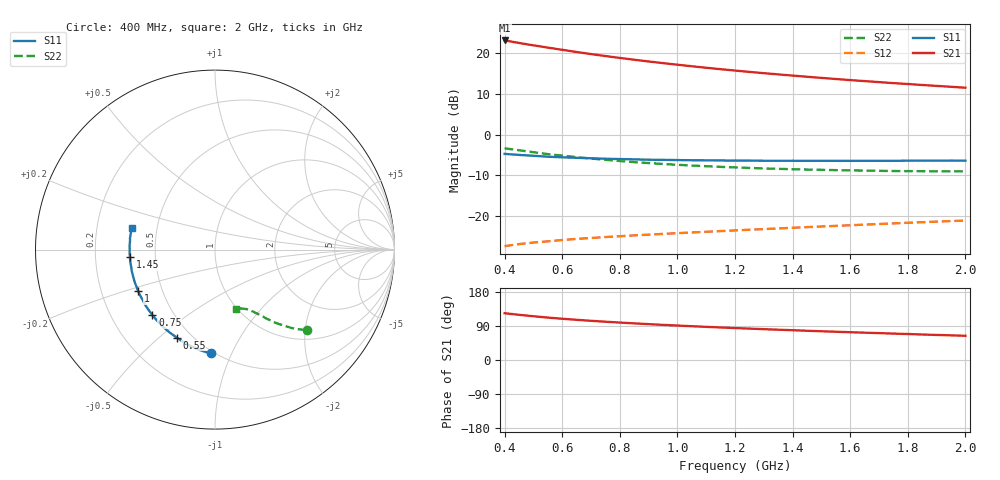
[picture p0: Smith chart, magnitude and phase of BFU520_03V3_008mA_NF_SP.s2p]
! Filename:  P:\Prog\Test\Noise\ATS_data\Testdata_Net\06 Compressed Noise after Statistics\BFU520_APG2013_37_A05_03p3V_008mA_NF_CM01_D.sf
! Date/Time: Fri 26/Apr/2013 14:13:18
! BFU520_APG2013_37_A05_03p3V_1to20mA_NF_CM01_Bias5_R.sf
! Noise Parameter Data File
! BFU520_APG2013_37_A05_03p3V_1to20mA_NF_CM01
! Date/time: Tue Apr 23 15:18:41 2013
! VAR V_out= 3.300000
! VAR I_out= 8.000000
! VAR V_in= 0.840700
! VAR I_in= 0.093105
! Device data file deembeded for feedlines and parallel
! Original file: \06 Compressed Noise after Statistics\BFU520_APG2013_37_A05_03p3V_008mA_NF_CM01_R.sf
! Feed-files: PR047V01_250413_Feed1.s2p, PR047V01_250413_Feed2.s2p
! Parallel-file: PR047V01_250413_Par.s2p
# MHz S MA R 50
!  Freq-MHz  S11-mag  S11-arg  S21-mag  S21-arg  S12-mag  S12-arg  S22-mag  S22-arg
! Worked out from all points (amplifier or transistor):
!   37 points, 400 MHz to 2 GHz, reference 50 ohm
!   highest |S21| = 23.1 dB at 400 MHz (marker M1)
!   |S21| within 3 dB of that: start of sweep to 666.9 MHz
!   unconditionally stable (mu >= 1): 1.875 GHz to end of sweep
!   at 500 MHz: K = 0.42, MSG = 24.2 dB, |S12| = -26.5 dB
!   at 1.1 GHz: K = 0.77, MSG = 20.1 dB, |S12| = -23.8 dB
!   at 2 GHz: K = 1.03, MAG = 15.3 dB, |S12| = -21.1 dB
!   lowest NFmin = 0.78 dB at 460 MHz
!   S11 on the Smith chart (normalised r, x): 400 MHz: 0.48, -0.84; 550 MHz: 0.42, -0.57; 750 MHz: 0.38, -0.37; 1 GHz: 0.36, -0.22; 1.45 GHz: 0.36, -0.04; 2 GHz: 0.36, +0.11
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400  0.5787 -92.4  14.24 123.4  0.04276 52.5  0.6782 -41.3
433  0.5676 -97.5  13.59 120.6  0.04449 51.2  0.653 -43.0
460  0.5593 -101.5  13.09 118.5  0.04575 50.2  0.6346 -44.2
500  0.5485 -107.0  12.4 115.5  0.04739 49.0  0.6074 -45.9
550  0.5347 -113.6  11.64 111.9  0.04901 47.8  0.5755 -47.6
600  0.5255 -119.2  10.93 108.9  0.05088 47.0  0.5509 -49.1
650  0.5183 -124.4  10.28 106.1  0.05248 46.2  0.528 -50.5
700  0.5111 -129.2  9.697 103.5  0.05386 45.7  0.5075 -51.5
750  0.5047 -133.8  9.168 101.0  0.05529 45.4  0.4897 -52.6
800  0.5001 -137.8  8.694 98.8  0.05665 45.2  0.4735 -53.6
850  0.4962 -141.7  8.262 96.7  0.05796 45.0  0.4591 -54.4
900  0.4909 -145.5  7.866 94.6  0.05922 44.9  0.4468 -55.3
950  0.4892 -148.8  7.51 92.7  0.06048 44.9  0.4352 -56.1
1000  0.486 -151.9  7.177 90.9  0.06173 45.0  0.4255 -56.7
1100  0.4829 -157.8  6.588 87.5  0.0642 45.2  0.4088 -58.1
1200  0.4793 -163.4  6.086 84.3  0.06669 45.5  0.3951 -59.6
1300  0.4768 -168.1  5.654 81.4  0.06925 45.9  0.3842 -60.8
1450  0.4759 -174.9  5.108 77.2  0.07322 46.5  0.3721 -62.8
1500  0.4761 -176.8  4.947 75.8  0.07451 46.7  0.3691 -63.5
1600  0.4752 179.1  4.649 73.3  0.07713 47.0  0.3634 -64.9
1750  0.476 173.7  4.269 69.7  0.08129 47.6  0.3568 -67.0
2000  0.4782 165.8  3.748 63.9  0.08807 48.2  0.3526 -70.8
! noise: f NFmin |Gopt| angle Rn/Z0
400  0.8571  0.07483  27.54  0.1231
460  0.7825  0.05484  100.2  0.0946
600  0.8471  0.04001  62.26  0.1096
800  0.8715  0.06128  127.1  0.0955
1000  0.8733  0.07762  127.2  0.0958
1200  0.9191  0.09512  134.9  0.0941
1400  0.9412  0.1073  142.8  0.0952
1600  0.9773  0.1379  160.9  0.0859
1800  0.9642  0.164  173.5  0.0759
2000  1.018  0.1815  176.2  0.0827
